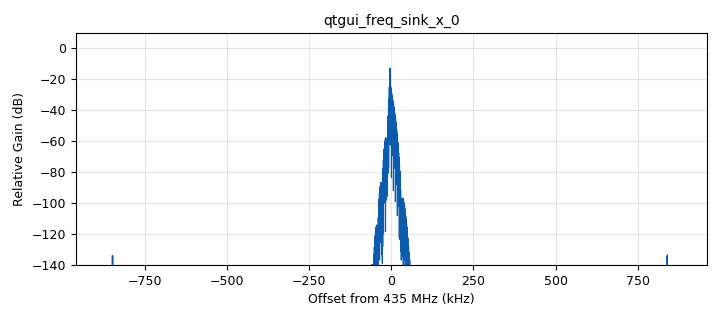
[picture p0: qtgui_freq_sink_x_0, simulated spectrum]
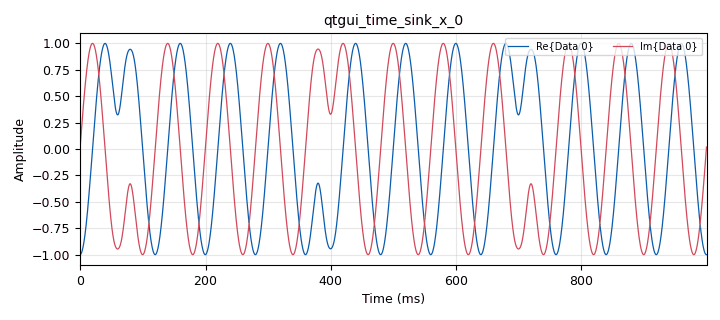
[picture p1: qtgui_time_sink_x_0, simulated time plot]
options:
  parameters:
    generate_options: qt_gui
    id: endurosat_e2e
    output_language: python
    title: Not titled yet
  states: {}

blocks:
- name: BW
  id: variable
  parameters:
    value: 2*fsk_dev+baud_bit
  states: {}
- name: baud_bit
  id: variable
  parameters:
    value: '9600'
  states: {}
- name: baud_byte
  id: variable
  parameters:
    value: baud_bit/8
  states: {}
- name: center_freq
  id: variable
  parameters:
    value: '435000000'
  states: {}
- name: fsk_dev
  id: variable
  parameters:
    value: '2400'
  states: {}
- name: old_BW
  id: variable
  parameters:
    value: baud_bit*spsym
  states: {}
- name: rx_gain
  id: variable
  parameters:
    value: '20'
  states: {}
- name: sensitivity
  id: variable
  parameters:
    value: 2*3.14159*(fsk_dev/(baud_bit*spsym))
  states: {}
- name: spsym
  id: variable
  parameters:
    value: '100'
  states: {}
- name: tx_gain
  id: variable
  parameters:
    value: '1'
  states: {}
- name: blocks_stream_to_tagged_stream_0
  id: blocks_stream_to_tagged_stream
  parameters:
    len_tag_key: '"packet_len"'
    packet_len: '8'
    type: byte
  states: {}
- name: blocks_vector_source_x_0
  id: blocks_vector_source_x
  parameters:
    repeat: 'True'
    type: byte
    vector: (0,1,0,1,0,1,0,1)
  states: {}
- name: digital_gfsk_mod_0
  id: digital_gfsk_mod
  parameters:
    bt: '0.5'
    samples_per_symbol: spsym
    sensitivity: sensitivity
  states: {}
- name: note_0_0
  id: note
  parameters:
    note: GFSK Mod input is packed bytes (eg. 0b01110000)
  states: {}
- name: qtgui_freq_sink_x_0
  id: qtgui_freq_sink_x
  parameters:
    bw: 2*baud_bit*spsym
    fc: center_freq
    fftsize: 10*1024
    type: complex
  states: {}
- name: qtgui_time_sink_x_0
  id: qtgui_time_sink_x
  parameters:
    autoscale: 'True'
    size: spsym*50
    srate: spsym*50
    type: complex
    update_time: '1'
    ymax: '0.1'
    ymin: '-0.1'
  states: {}
- name: uhd_usrp_sink_0
  id: uhd_usrp_sink
  parameters:
    ant0: TX/RX
    center_freq0: center_freq
    dev_args: '""'
    gain0: tx_gain
    gain_type0: normalized
    len_tag_name: ''
    samp_rate: baud_bit*spsym
    sync: pc_clock
    type: fc32
  states: {}

connections:
- [blocks_stream_to_tagged_stream_0, '0', digital_gfsk_mod_0, '0']
- [blocks_vector_source_x_0, '0', blocks_stream_to_tagged_stream_0, '0']
- [digital_gfsk_mod_0, '0', qtgui_freq_sink_x_0, '0']
- [digital_gfsk_mod_0, '0', qtgui_time_sink_x_0, '0']
- [digital_gfsk_mod_0, '0', uhd_usrp_sink_0, '0']

metadata:
  file_format: 1
